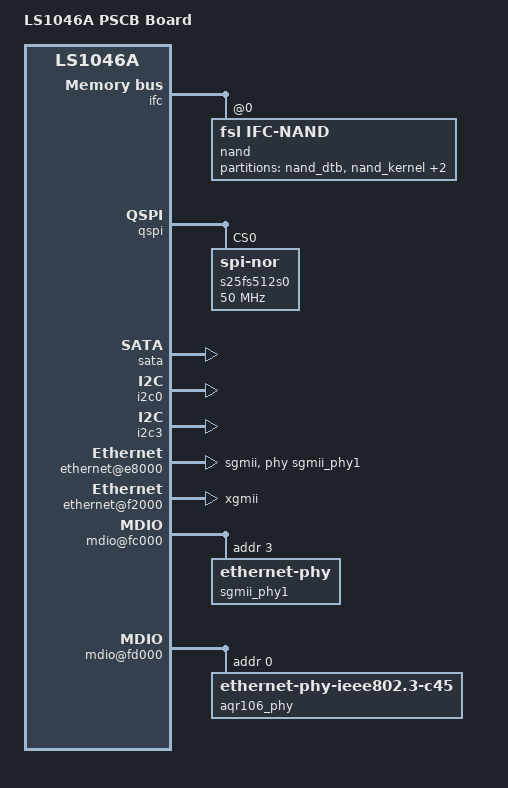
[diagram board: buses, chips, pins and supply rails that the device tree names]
// SPDX-License-Identifier: GPL-2.0+ OR X11
/*
 * Device Tree Include file for Freescale Layerscape-1046A family SoC.
 *
 * Copyright 2016, Freescale Semiconductor
 * Copyright 2020 NXP
 *
 * Mingkai Hu <Mingkai.hu@freescale.com>
 */

/dts-v1/;
#include "fsl-ls1046a.dtsi"

/ {
	model = "LS1046A PSCB Board";

	aliases {
		spi0 = &qspi;
	};

};

&ifc {
	#address-cells = <2>;
	#size-cells = <1>;
	/* NAND Flash */
	ranges = <0x0 0x0 0x0 0x7e800000 0x00010000>;
	status = "okay";

	nand@0,0 {
		compatible = "fsl,ifc-nand";
		#address-cells = <1>;
		#size-cells = <1>;
		reg = <0x0 0x0 0x10000>;

		partition@0 {
			/* This location must not be altered  */
			/* 16MB for DTB file */
			reg = <0x0 0x01000000>;
			label = "nand_dtb";
		};

		partition@1 {
			/* 48MB for kernel Image */
			reg = <0x01000000 0x03000000>;
			label = "nand_kernel";
		};

		partition@2 {
			/* 448MB for rootfs */
			reg = <0x04000000 0x1C000000>;
			label = "nand_rootfs";
		};

		partition@3 {
			/* 512MB for data */
			reg = <0x20000000 0x20000000>;
			label = "nand_free";
		};
	};
};

&qspi {
	status = "okay";

	s25fs512s0: flash@0 {
		#address-cells = <1>;
		#size-cells = <1>;
		compatible = "jedec,spi-nor";
		spi-max-frequency = <50000000>;
		reg = <0>;
	};
};

&sata {
	status = "okay";
};

&i2c0 {
	status = "okay";
};

&i2c3 {
	status = "okay";
};

#include "fsl-ls1046-post.dtsi"

&fman0 {
	ethernet@e4000 {
		status = "disabled";
	};

	ethernet@e6000 {
		status = "disabled";
	};

	ethernet@e8000 {
		phy-handle = <&sgmii_phy1>;
		phy-connection-type = "sgmii";
		status = "okay";
	};

	ethernet@ea000 {
		status = "disabled";
	};

	ethernet@f0000 { /* 10GEC1 */
		status = "disabled";
	};

	ethernet@f2000 { /* 10GEC2 */
		fixed-link = <0 1 1000 0 0>;
		phy-connection-type = "xgmii";
		status = "okay";
	};

	mdio@fc000 {
		sgmii_phy1: ethernet-phy@3 {
			reg = <0x3>;
		};
	};

	mdio@fd000 {
		aqr106_phy: ethernet-phy@0 {
			compatible = "ethernet-phy-ieee802.3-c45";
			interrupts = <0 131 4>;
			reg = <0x0>;
		};
	};
};
